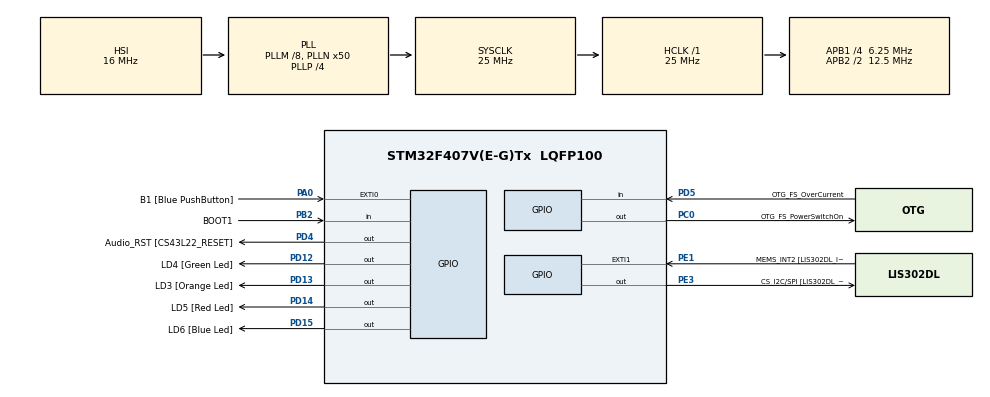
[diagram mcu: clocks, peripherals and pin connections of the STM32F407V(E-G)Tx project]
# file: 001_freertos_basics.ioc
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Mcu.Family=STM32F4
Mcu.Name=STM32F407V(E-G)Tx
Mcu.Package=LQFP100
NVIC.PriorityGroup=NVIC_PRIORITYGROUP_4
NVIC.TIM6_DAC_IRQn=true\:0\:0\:false\:false\:true\:false\:true\:true
NVIC.TimeBase=TIM6_DAC_IRQn
NVIC.TimeBaseIP=TIM6
PA0-WKUP.GPIO_Label=B1 [Blue PushButton]
PA0-WKUP.Signal=GPXTI0
PA10.GPIO_Label=OTG_FS_ID
PA10.GPIO_Mode=GPIO_MODE_AF_PP
PA10.GPIO_PuPd=GPIO_NOPULL
PA10.GPIO_Speed=GPIO_SPEED_FREQ_LOW
PA10.Signal=USB_OTG_FS_ID
PA11.GPIO_Label=OTG_FS_DM
PA11.GPIO_Mode=GPIO_MODE_AF_PP
PA11.GPIO_PuPd=GPIO_NOPULL
PA11.GPIO_Speed=GPIO_SPEED_FREQ_LOW
PA11.Signal=USB_OTG_FS_DM
PA12.GPIO_Label=OTG_FS_DP
PA12.GPIO_Mode=GPIO_MODE_AF_PP
PA12.GPIO_PuPd=GPIO_NOPULL
PA12.GPIO_Speed=GPIO_SPEED_FREQ_LOW
PA12.Signal=USB_OTG_FS_DP
PA13.GPIO_Label=SWDIO
PA13.Signal=SYS_JTMS-SWDIO
PA14.GPIO_Label=SWCLK
PA14.Signal=SYS_JTCK-SWCLK
PA4.GPIO_Label=I2S3_WS [CS43L22_LRCK]
PA4.GPIO_Mode=GPIO_MODE_AF_PP
PA4.GPIO_PuPd=GPIO_NOPULL
PA4.GPIO_Speed=GPIO_SPEED_FREQ_LOW
PA4.Signal=I2S3_WS
PA5.GPIO_Label=SPI1_SCK [LIS302DL_SCL/SPC]
PA5.GPIO_Mode=GPIO_MODE_AF_PP
PA5.GPIO_PuPd=GPIO_NOPULL
PA5.GPIO_Speed=GPIO_SPEED_FREQ_LOW
PA5.Signal=SPI1_SCK
PA6.GPIO_Label=SPI1_MISO [LIS302DL_SDO]
PA6.GPIO_Mode=GPIO_MODE_AF_PP
PA6.GPIO_PuPd=GPIO_NOPULL
PA6.GPIO_Speed=GPIO_SPEED_FREQ_LOW
PA6.Signal=SPI1_MISO
PA7.GPIO_Label=SPI1_MOSI [LIS302DL_SDA/SDI/SDO]
PA7.GPIO_Mode=GPIO_MODE_AF_PP
PA7.GPIO_PuPd=GPIO_NOPULL
PA7.GPIO_Speed=GPIO_SPEED_FREQ_LOW
PA7.Signal=SPI1_MOSI
PA9.GPIO_Label=VBUS_FS
PA9.GPIO_Mode=GPIO_MODE_INPUT
PA9.GPIO_PuPd=GPIO_NOPULL
PA9.Signal=USB_OTG_FS_VBUS
PB10.GPIO_Label=CLK_IN [MP45DT02_CLK]
PB10.GPIO_Mode=GPIO_MODE_AF_PP
PB10.GPIO_PuPd=GPIO_NOPULL
PB10.GPIO_Speed=GPIO_SPEED_FREQ_LOW
PB10.Signal=I2S2_CK
PB2.GPIO_Label=BOOT1
PB2.GPIO_Mode=GPIO_MODE_INPUT
PB2.GPIO_PuPd=GPIO_NOPULL
PB2.Signal=GPIO_Input
PB3.GPIO_Label=SWO
PB3.Signal=SYS_JTDO-SWO
PB6.GPIO_Label=Audio_SCL [CS43L22_SCL]
PB6.GPIO_Mode=GPIO_MODE_AF_OD
PB6.GPIO_PuPd=GPIO_NOPULL
PB6.GPIO_Speed=GPIO_SPEED_FREQ_LOW
PB6.Signal=I2C1_SCL
PB9.GPIO_Label=Audio_SDA [CS43L22_SDA]
PB9.GPIO_Mode=GPIO_MODE_AF_OD
PB9.GPIO_PuPd=GPIO_NOPULL
PB9.GPIO_Speed=GPIO_SPEED_FREQ_LOW
PB9.Signal=I2C1_SDA
PC0.GPIO_Label=OTG_FS_PowerSwitchOn
PC0.GPIO_PuPd=GPIO_NOPULL
PC0.GPIO_Speed=GPIO_SPEED_FREQ_LOW
PC0.PinState=GPIO_PIN_SET
PC0.Signal=GPIO_Output
PC10.GPIO_Label=I2S3_SCK [CS43L22_SCLK]
PC10.GPIO_Mode=GPIO_MODE_AF_PP
PC10.GPIO_PuPd=GPIO_NOPULL
PC10.GPIO_Speed=GPIO_SPEED_FREQ_LOW
PC10.Signal=I2S3_CK
PC12.GPIO_Label=I2S3_SD [CS43L22_SDIN]
PC12.GPIO_Mode=GPIO_MODE_AF_PP
PC12.GPIO_PuPd=GPIO_NOPULL
PC12.GPIO_Speed=GPIO_SPEED_FREQ_LOW
PC12.Signal=I2S3_SD
PC14-OSC32_IN.GPIO_Label=PC14-OSC32_IN
PC14-OSC32_IN.Signal=RCC_OSC32_IN
PC15-OSC32_OUT.GPIO_Label=PC15-OSC32_OUT
PC15-OSC32_OUT.Signal=RCC_OSC32_OUT
PC3.GPIO_Label=PDM_OUT [MP45DT02_DOUT]
PC3.GPIO_Mode=GPIO_MODE_AF_PP
PC3.GPIO_PuPd=GPIO_NOPULL
PC3.GPIO_Speed=GPIO_SPEED_FREQ_LOW
PC3.Signal=I2S2_SD
PC7.GPIO_Label=I2S3_MCK [CS43L22_MCLK]
PC7.GPIO_Mode=GPIO_MODE_AF_PP
PC7.GPIO_PuPd=GPIO_NOPULL
PC7.GPIO_Speed=GPIO_SPEED_FREQ_LOW
PC7.Signal=I2S3_MCK
PD12.GPIO_Label=LD4 [Green Led]
PD12.GPIO_PuPd=GPIO_NOPULL
PD12.GPIO_Speed=GPIO_SPEED_FREQ_LOW
PD12.Signal=GPIO_Output
PD13.GPIO_Label=LD3 [Orange Led]
PD13.GPIO_PuPd=GPIO_NOPULL
PD13.GPIO_Speed=GPIO_SPEED_FREQ_LOW
PD13.Signal=GPIO_Output
PD14.GPIO_Label=LD5 [Red Led]
PD14.GPIO_PuPd=GPIO_NOPULL
PD14.GPIO_Speed=GPIO_SPEED_FREQ_LOW
PD14.Signal=GPIO_Output
PD15.GPIO_Label=LD6 [Blue Led]
PD15.GPIO_PuPd=GPIO_NOPULL
PD15.GPIO_Speed=GPIO_SPEED_FREQ_LOW
PD15.Signal=GPIO_Output
PD4.GPIO_Label=Audio_RST [CS43L22_RESET]
PD4.GPIO_PuPd=GPIO_NOPULL
PD4.GPIO_Speed=GPIO_SPEED_FREQ_LOW
PD4.Signal=GPIO_Output
PD5.GPIO_Label=OTG_FS_OverCurrent
PD5.GPIO_Mode=GPIO_MODE_INPUT
PD5.GPIO_PuPd=GPIO_NOPULL
PD5.Signal=GPIO_Input
PE1.GPIO_Label=MEMS_INT2 [LIS302DL_INT2]
PE1.GPIO_ModeDefaultEXTI=GPIO_MODE_EVT_RISING
PE1.GPIO_PuPd=GPIO_NOPULL
PE1.Signal=GPXTI1
PE3.GPIO_Label=CS_I2C/SPI [LIS302DL_CS_I2C/SPI]
PE3.GPIO_PuPd=GPIO_NOPULL
PE3.GPIO_Speed=GPIO_SPEED_FREQ_LOW
PE3.Signal=GPIO_Output
PH0-OSC_IN.GPIO_Label=PH0-OSC_IN
PH0-OSC_IN.Signal=RCC_OSC_IN
PH1-OSC_OUT.GPIO_Label=PH1-OSC_OUT
PH1-OSC_OUT.Signal=RCC_OSC_OUT
ProjectManager.HeapSize=0x200
ProjectManager.StackSize=0x400
ProjectManager.TargetToolchain=STM32CubeIDE
RCC.48MHZClocksFreq_Value=14285714.285714285
RCC.AHBFreq_Value=25000000
RCC.APB1CLKDivider=RCC_HCLK_DIV4
RCC.APB1Freq_Value=6250000
RCC.APB1TimFreq_Value=12500000
RCC.APB2CLKDivider=RCC_HCLK_DIV2
RCC.APB2Freq_Value=12500000
RCC.APB2TimFreq_Value=25000000
RCC.CortexFreq_Value=25000000
RCC.HCLKFreq_Value=25000000
RCC.HSE_VALUE=8000000
RCC.HSI_VALUE=16000000
RCC.LSE_VALUE=32768
RCC.PLLM=8
RCC.PLLN=50
RCC.PLLP=RCC_PLLP_DIV4
RCC.PLLQ=7
RCC.SYSCLKFreq_VALUE=25000000
RCC.SYSCLKSource=RCC_SYSCLKSOURCE_PLLCLK
RCC.VCOOutputFreq_Value=100000000
VP_SYS_VS_tim6.Mode=TIM6
board=STM32F407G-DISC1

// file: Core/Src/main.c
/* USER CODE BEGIN Header */
/**
  ******************************************************************************
  * @file           : main.c
  * @brief          : Main program body
  ******************************************************************************
  * @attention
  *
  * Copyright (c) 2026 STMicroelectronics.
  * All rights reserved.
  *
  * This software is licensed under terms that can be found in the LICENSE file
  * in the root directory of this software component.
  * If no LICENSE file comes with this software, it is provided AS-IS.
  *
  ******************************************************************************
  */
/* USER CODE END Header */
#include "main.h"

/* USER CODE BEGIN Includes */
#include<stdio.h>
#include "FreeRTOS.h"
#include "task.h"
/* USER CODE END Includes */

void SystemClock_Config(void);
static void MX_GPIO_Init(void);
/* USER CODE BEGIN PFP */

static void task1_handler(void* parameters);
static void task2_handler(void* parameters);

/* USER CODE END PFP */

int main(void)
{

  /* USER CODE BEGIN 1 */
	TaskHandle_t task1_handle;
	TaskHandle_t task2_handle;
	BaseType_t status;
  /* USER CODE END 1 */

  /* MCU Configuration--------------------------------------------------------*/

  /* Reset of all peripherals, Initializes the Flash interface and the Systick. */
  HAL_Init();

  /* Configure the system clock */
  SystemClock_Config();

  /* Initialize all configured peripherals */
  MX_GPIO_Init();
  /* USER CODE BEGIN 2 */

  status = xTaskCreate(task1_handler, "Task-1", 512, "Hello world from Task-1", 2, &task1_handle);

  configASSERT(status == pdPASS);

  status = xTaskCreate(task2_handler, "Task-2", 512, "Hello world from Task-2", 2, &task2_handle);

  configASSERT(status == pdPASS);

  //start the freeRTOS scheduler
   vTaskStartScheduler();

  /* USER CODE END 2 */

  /* Infinite loop */
  while (1)
  {

  }
}

void SystemClock_Config(void)
{
  RCC_OscInitTypeDef RCC_OscInitStruct = {0};
  RCC_ClkInitTypeDef RCC_ClkInitStruct = {0};

  /** Configure the main internal regulator output voltage
  */
  __HAL_RCC_PWR_CLK_ENABLE();
  __HAL_PWR_VOLTAGESCALING_CONFIG(PWR_REGULATOR_VOLTAGE_SCALE1);

  /** Initializes the RCC Oscillators according to the specified parameters
  * in the RCC_OscInitTypeDef structure.
  */
  RCC_OscInitStruct.OscillatorType = RCC_OSCILLATORTYPE_HSI;
  RCC_OscInitStruct.HSIState = RCC_HSI_ON;
  RCC_OscInitStruct.HSICalibrationValue = RCC_HSICALIBRATION_DEFAULT;
  RCC_OscInitStruct.PLL.PLLState = RCC_PLL_ON;
  RCC_OscInitStruct.PLL.PLLSource = RCC_PLLSOURCE_HSI;
  RCC_OscInitStruct.PLL.PLLM = 8;
  RCC_OscInitStruct.PLL.PLLN = 50;
  RCC_OscInitStruct.PLL.PLLP = RCC_PLLP_DIV4;
  RCC_OscInitStruct.PLL.PLLQ = 7;
  if (HAL_RCC_OscConfig(&RCC_OscInitStruct) != HAL_OK)
  {
    Error_Handler();
  }

  /** Initializes the CPU, AHB and APB buses clocks
  */
  RCC_ClkInitStruct.ClockType = RCC_CLOCKTYPE_HCLK|RCC_CLOCKTYPE_SYSCLK
                              |RCC_CLOCKTYPE_PCLK1|RCC_CLOCKTYPE_PCLK2;
  RCC_ClkInitStruct.SYSCLKSource = RCC_SYSCLKSOURCE_PLLCLK;
  RCC_ClkInitStruct.AHBCLKDivider = RCC_SYSCLK_DIV1;
  RCC_ClkInitStruct.APB1CLKDivider = RCC_HCLK_DIV4;
  RCC_ClkInitStruct.APB2CLKDivider = RCC_HCLK_DIV2;

  if (HAL_RCC_ClockConfig(&RCC_ClkInitStruct, FLASH_LATENCY_0) != HAL_OK)
  {
    Error_Handler();
  }
}

static void MX_GPIO_Init(void)
{
  GPIO_InitTypeDef GPIO_InitStruct = {0};

  /* GPIO Ports Clock Enable */
  __HAL_RCC_GPIOE_CLK_ENABLE();
  __HAL_RCC_GPIOC_CLK_ENABLE();
  __HAL_RCC_GPIOH_CLK_ENABLE();
  __HAL_RCC_GPIOA_CLK_ENABLE();
  __HAL_RCC_GPIOB_CLK_ENABLE();
  __HAL_RCC_GPIOD_CLK_ENABLE();

  /*Configure GPIO pin Output Level */
  HAL_GPIO_WritePin(CS_I2C_SPI_GPIO_Port, CS_I2C_SPI_Pin, GPIO_PIN_RESET);

  /*Configure GPIO pin Output Level */
  HAL_GPIO_WritePin(OTG_FS_PowerSwitchOn_GPIO_Port, OTG_FS_PowerSwitchOn_Pin, GPIO_PIN_SET);

  /*Configure GPIO pin Output Level */
  HAL_GPIO_WritePin(GPIOD, LD4_Pin|LD3_Pin|LD5_Pin|LD6_Pin
                          |Audio_RST_Pin, GPIO_PIN_RESET);

  /*Configure GPIO pin : CS_I2C_SPI_Pin */
  GPIO_InitStruct.Pin = CS_I2C_SPI_Pin;
  GPIO_InitStruct.Mode = GPIO_MODE_OUTPUT_PP;
  GPIO_InitStruct.Pull = GPIO_NOPULL;
  GPIO_InitStruct.Speed = GPIO_SPEED_FREQ_LOW;
  HAL_GPIO_Init(CS_I2C_SPI_GPIO_Port, &GPIO_InitStruct);

  /*Configure GPIO pin : OTG_FS_PowerSwitchOn_Pin */
  GPIO_InitStruct.Pin = OTG_FS_PowerSwitchOn_Pin;
  GPIO_InitStruct.Mode = GPIO_MODE_OUTPUT_PP;
  GPIO_InitStruct.Pull = GPIO_NOPULL;
  GPIO_InitStruct.Speed = GPIO_SPEED_FREQ_LOW;
  HAL_GPIO_Init(OTG_FS_PowerSwitchOn_GPIO_Port, &GPIO_InitStruct);

  /*Configure GPIO pin : PDM_OUT_Pin */
  GPIO_InitStruct.Pin = PDM_OUT_Pin;
  GPIO_InitStruct.Mode = GPIO_MODE_AF_PP;
  GPIO_InitStruct.Pull = GPIO_NOPULL;
  GPIO_InitStruct.Speed = GPIO_SPEED_FREQ_LOW;
  GPIO_InitStruct.Alternate = GPIO_AF5_SPI2;
  HAL_GPIO_Init(PDM_OUT_GPIO_Port, &GPIO_InitStruct);

  /*Configure GPIO pin : B1_Pin */
  GPIO_InitStruct.Pin = B1_Pin;
  GPIO_InitStruct.Mode = GPIO_MODE_IT_RISING;
  GPIO_InitStruct.Pull = GPIO_NOPULL;
  HAL_GPIO_Init(B1_GPIO_Port, &GPIO_InitStruct);

  /*Configure GPIO pin : I2S3_WS_Pin */
  GPIO_InitStruct.Pin = I2S3_WS_Pin;
  GPIO_InitStruct.Mode = GPIO_MODE_AF_PP;
  GPIO_InitStruct.Pull = GPIO_NOPULL;
  GPIO_InitStruct.Speed = GPIO_SPEED_FREQ_LOW;
  GPIO_InitStruct.Alternate = GPIO_AF6_SPI3;
  HAL_GPIO_Init(I2S3_WS_GPIO_Port, &GPIO_InitStruct);

  /*Configure GPIO pins : SPI1_SCK_Pin SPI1_MISO_Pin SPI1_MOSI_Pin */
  GPIO_InitStruct.Pin = SPI1_SCK_Pin|SPI1_MISO_Pin|SPI1_MOSI_Pin;
  GPIO_InitStruct.Mode = GPIO_MODE_AF_PP;
  GPIO_InitStruct.Pull = GPIO_NOPULL;
  GPIO_InitStruct.Speed = GPIO_SPEED_FREQ_LOW;
  GPIO_InitStruct.Alternate = GPIO_AF5_SPI1;
  HAL_GPIO_Init(GPIOA, &GPIO_InitStruct);

  /*Configure GPIO pin : BOOT1_Pin */
  GPIO_InitStruct.Pin = BOOT1_Pin;
  GPIO_InitStruct.Mode = GPIO_MODE_INPUT;
  GPIO_InitStruct.Pull = GPIO_NOPULL;
  HAL_GPIO_Init(BOOT1_GPIO_Port, &GPIO_InitStruct);

  /*Configure GPIO pin : CLK_IN_Pin */
  GPIO_InitStruct.Pin = CLK_IN_Pin;
  GPIO_InitStruct.Mode = GPIO_MODE_AF_PP;
  GPIO_InitStruct.Pull = GPIO_NOPULL;
  GPIO_InitStruct.Speed = GPIO_SPEED_FREQ_LOW;
  GPIO_InitStruct.Alternate = GPIO_AF5_SPI2;
  HAL_GPIO_Init(CLK_IN_GPIO_Port, &GPIO_InitStruct);

  /*Configure GPIO pins : LD4_Pin LD3_Pin LD5_Pin LD6_Pin
                           Audio_RST_Pin */
  GPIO_InitStruct.Pin = LD4_Pin|LD3_Pin|LD5_Pin|LD6_Pin
                          |Audio_RST_Pin;
  GPIO_InitStruct.Mode = GPIO_MODE_OUTPUT_PP;
  GPIO_InitStruct.Pull = GPIO_NOPULL;
  GPIO_InitStruct.Speed = GPIO_SPEED_FREQ_LOW;
  HAL_GPIO_Init(GPIOD, &GPIO_InitStruct);

  /*Configure GPIO pins : I2S3_MCK_Pin I2S3_SCK_Pin I2S3_SD_Pin */
  GPIO_InitStruct.Pin = I2S3_MCK_Pin|I2S3_SCK_Pin|I2S3_SD_Pin;
  GPIO_InitStruct.Mode = GPIO_MODE_AF_PP;
  GPIO_InitStruct.Pull = GPIO_NOPULL;
  GPIO_InitStruct.Speed = GPIO_SPEED_FREQ_LOW;
  GPIO_InitStruct.Alternate = GPIO_AF6_SPI3;
  HAL_GPIO_Init(GPIOC, &GPIO_InitStruct);

  /*Configure GPIO pin : VBUS_FS_Pin */
  GPIO_InitStruct.Pin = VBUS_FS_Pin;
  GPIO_InitStruct.Mode = GPIO_MODE_INPUT;
  GPIO_InitStruct.Pull = GPIO_NOPULL;
  HAL_GPIO_Init(VBUS_FS_GPIO_Port, &GPIO_InitStruct);

  /*Configure GPIO pins : OTG_FS_ID_Pin OTG_FS_DM_Pin OTG_FS_DP_Pin */
  GPIO_InitStruct.Pin = OTG_FS_ID_Pin|OTG_FS_DM_Pin|OTG_FS_DP_Pin;
  GPIO_InitStruct.Mode = GPIO_MODE_AF_PP;
  GPIO_InitStruct.Pull = GPIO_NOPULL;
  GPIO_InitStruct.Speed = GPIO_SPEED_FREQ_LOW;
  GPIO_InitStruct.Alternate = GPIO_AF10_OTG_FS;
  HAL_GPIO_Init(GPIOA, &GPIO_InitStruct);

  /*Configure GPIO pin : OTG_FS_OverCurrent_Pin */
  GPIO_InitStruct.Pin = OTG_FS_OverCurrent_Pin;
  GPIO_InitStruct.Mode = GPIO_MODE_INPUT;
  GPIO_InitStruct.Pull = GPIO_NOPULL;
  HAL_GPIO_Init(OTG_FS_OverCurrent_GPIO_Port, &GPIO_InitStruct);

  /*Configure GPIO pins : Audio_SCL_Pin Audio_SDA_Pin */
  GPIO_InitStruct.Pin = Audio_SCL_Pin|Audio_SDA_Pin;
  GPIO_InitStruct.Mode = GPIO_MODE_AF_OD;
  GPIO_InitStruct.Pull = GPIO_NOPULL;
  GPIO_InitStruct.Speed = GPIO_SPEED_FREQ_LOW;
  GPIO_InitStruct.Alternate = GPIO_AF4_I2C1;
  HAL_GPIO_Init(GPIOB, &GPIO_InitStruct);

  /*Configure GPIO pin : MEMS_INT2_Pin */
  GPIO_InitStruct.Pin = MEMS_INT2_Pin;
  GPIO_InitStruct.Mode = GPIO_MODE_EVT_RISING;
  GPIO_InitStruct.Pull = GPIO_NOPULL;
  HAL_GPIO_Init(MEMS_INT2_GPIO_Port, &GPIO_InitStruct);

}

/* USER CODE BEGIN 4 */
static void task1_handler(void* parameters)
{

	while(1)
	{
		printf("Task 1: Running...\r\n");
		vTaskDelay(pdMS_TO_TICKS(500));
	}

}

static void task2_handler(void* parameters)
{

	while(1)
	{
		printf("Task 2: Running...\r\n");
		vTaskDelay(pdMS_TO_TICKS(500));
	}

}
/* USER CODE END 4 */

void HAL_TIM_PeriodElapsedCallback(TIM_HandleTypeDef *htim)
{
  if (htim->Instance == TIM6)
  {
    HAL_IncTick();
  }
}

void Error_Handler(void)
{
  __disable_irq();
  while (1)
  {
  }
}
